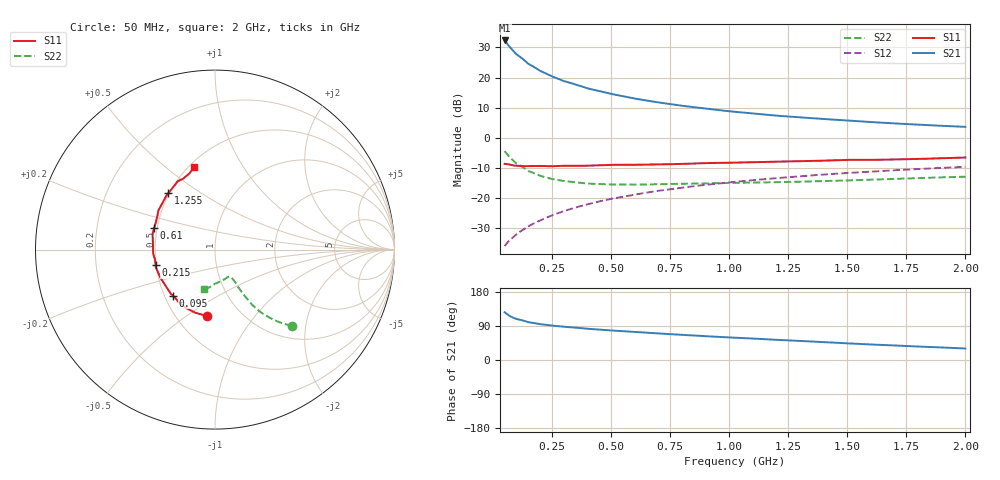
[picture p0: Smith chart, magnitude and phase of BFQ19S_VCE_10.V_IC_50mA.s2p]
! Infineon Technologies  Discrete & RF Semiconductors
! BFQ19S
! VCE =  10. V,  IC =  50 mA
! Common Emitter S-Parameters:  Jan 2016
# GHz  S  MA  R  50
!  f  S11  S21  S12  S22
! GHz  MAG  ANG  MAG  ANG  MAG  ANG  MAG  ANG
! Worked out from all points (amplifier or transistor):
!   391 points, 50 MHz to 2 GHz, reference 50 ohm
!   highest |S21| = 32.3 dB at 50 MHz (marker M1)
!   |S21| within 3 dB of that: start of sweep to 81.11 MHz
!   unconditionally stable (mu >= 1): 285.6 MHz to 1.487 GHz; 1.538 GHz to 1.637 GHz
!   at 375 MHz: K = 1.02, MAG = 19.0 dB, |S12| = -22.5 dB
!   at 1.025 GHz: K = 1.03, MAG = 10.5 dB, |S12| = -14.5 dB
!   at 2 GHz: K = 0.96, MSG = 6.6 dB, |S12| = -9.6 dB
!   S11 on the Smith chart (normalised r, x): 50 MHz: 0.70, -0.60; 95 MHz: 0.55, -0.32; 215 MHz: 0.50, -0.10; 610 MHz: 0.48, +0.13; 1.255 GHz: 0.49, +0.37; 2 GHz: 0.53, +0.63
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0.05  0.3725 -97.3  41.11 126.1  0.0161 65.4  0.6039 -44.9
0.06  0.3684 -107.4  36.52 121.0  0.0181 65.5  0.5404 -48.5
0.07  0.363 -116.8  32.64 116.8  0.02 65.1  0.488 -51.2
0.08  0.3568 -124.1  29.41 113.3  0.0217 65.5  0.445 -53.3
0.09  0.3483 -130.0  26.68 110.5  0.0235 65.8  0.4085 -54.8
0.095  0.3477 -132.6  25.51 109.4  0.0243 66.5  0.3931 -55.3
0.1  0.3478 -135.2  24.34 108.1  0.0252 67.2  0.3778 -55.9
0.15  0.3419 -152.0  16.91 99.8  0.0341 69.5  0.2838 -57.9
0.2  0.3443 -163.3  12.92 94.5  0.0429 71.4  0.2361 -58.3
0.215  0.3422 -165.5  12.17 93.5  0.0456 71.7  0.2278 -58.4
0.25  0.3391 -170.6  10.42 90.7  0.0519 72.3  0.2086 -58.5
0.3  0.3456 -176.4  8.75 87.6  0.0611 72.6  0.1928 -58.8
0.375  0.3456 176.8  7.145 84.0  0.0748 72.5  0.1796 -59.8
0.4  0.3467 174.6  6.619 82.4  0.0794 72.5  0.1752 -60.1
0.5  0.3586 166.2  5.348 77.9  0.0976 71.7  0.1697 -62.5
0.61  0.3598 160.3  4.419 73.5  0.1169 70.3  0.1684 -65.9
0.7  0.3628 155.2  3.871 70.0  0.1329 69.2  0.1708 -68.9
1.03  0.3898 139.4  2.696 58.7  0.1881 64.1  0.1803 -80.3
1.255  0.4079 129.8  2.256 51.7  0.224 60.6  0.1866 -87.0
1.35  0.4149 125.6  2.123 48.8  0.2391 59.1  0.1898 -89.6
1.675  0.4376 112.3  1.761 39.0  0.2874 53.7  0.2089 -97.2
2  0.4735 104.0  1.523 30.4  0.3322 48.8  0.2278 -105.9
